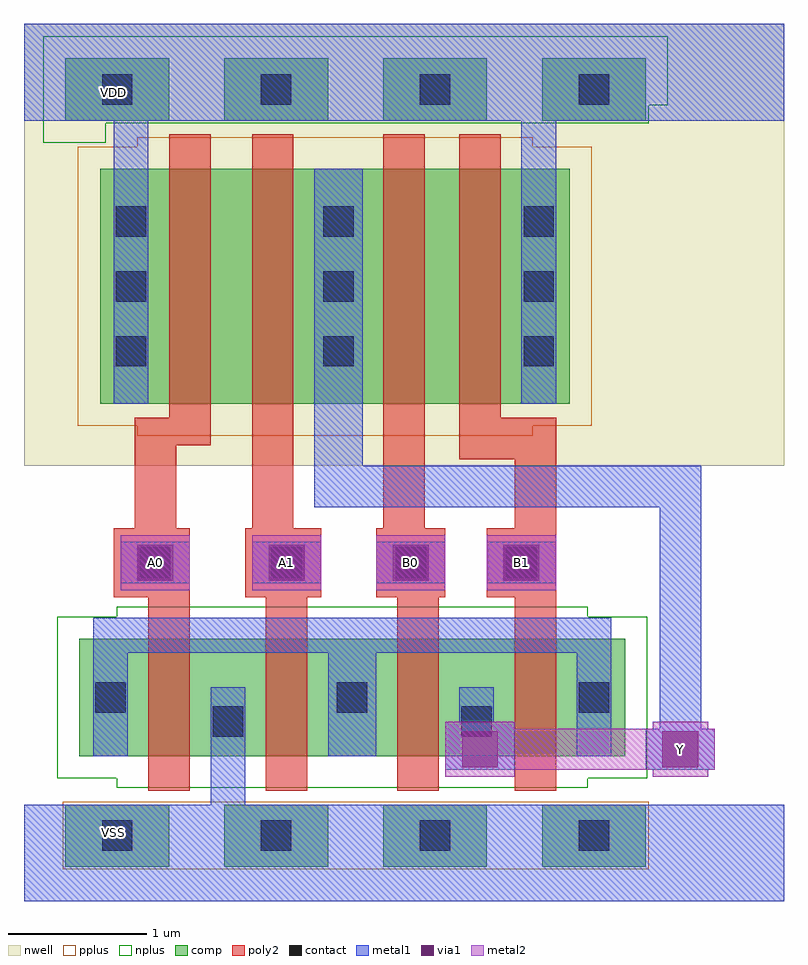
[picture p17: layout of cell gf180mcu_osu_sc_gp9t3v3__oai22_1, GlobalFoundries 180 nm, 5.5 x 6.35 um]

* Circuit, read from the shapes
.subckt gf180mcu_osu_sc_gp9t3v3__oai22_1 A0 A1 B0 B1 VDD VSS Y
XM1 VSS A0 n1 VSS nfet_03v3 w=0.85u l=0.3u
XM2 n1 A1 VSS VSS nfet_03v3 w=0.85u l=0.3u
XM3 Y B0 n1 VSS nfet_03v3 w=0.85u l=0.3u
XM4 n1 B1 Y VSS nfet_03v3 w=0.85u l=0.3u
XM5 n2 A0 VDD VDD pfet_03v3 w=1.7u l=0.3u
XM6 Y A1 n2 VDD pfet_03v3 w=1.7u l=0.3u
XM7 n3 B0 Y VDD pfet_03v3 w=1.7u l=0.3u
XM8 VDD B1 n3 VDD pfet_03v3 w=1.7u l=0.3u
.ends

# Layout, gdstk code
import gdstk
lib = gdstk.Library(unit=1e-6, precision=1e-09)
def R(c, l, rs):  # rectangles x0, y0, x1, y1
    for r in rs: c.add(gdstk.rectangle(r[:2], r[2:], *l))
def A(c, l, x, y, w, h, nx, ny, dx, dy):  # array of equal rectangles
    R(c, l, [(x+i*dx, y+j*dy, x+i*dx+w, y+j*dy+h) for i in range(nx) for j in range(ny)])
nwell = (21, 0)
comp = (22, 0)
poly2 = (30, 0)
pplus = (31, 0)
nplus = (32, 0)
contact = (33, 0)
metal1 = (34, 0)
via1 = (35, 0)
metal2 = (36, 0)

gf180mcu_osu_sc_gp9t3v3_ = lib.new_cell('gf180mcu_osu_sc_gp9t3v3__oai22_1')
R(gf180mcu_osu_sc_gp9t3v3_, nwell, [(0,3.15,5.5,6.35)])
A(gf180mcu_osu_sc_gp9t3v3_, comp, 0.3, 0.25, 0.75, 0.45, 4, 2, 1.15, 5.4)
R(gf180mcu_osu_sc_gp9t3v3_, comp, [(0.4,1.05,4.35,1.9), (0.55,3.6,3.95,5.3)])
R(gf180mcu_osu_sc_gp9t3v3_, poly2, [(0.9,0.8,1.2,2.2), (1.75,0.8,2.05,2.2), (2.7,0.8,3,2.2), (3.55,0.8,3.85,2.2), (0.65,2.2,1.2,2.7), (1.6,2.2,2.15,2.7), (2.55,2.2,3.05,2.7), (3.35,2.2,3.85,2.7), (0.8,2.7,1.1,3.3), (1.65,2.7,1.95,5.55), (2.6,2.7,2.9,5.55), (3.55,2.7,3.85,3.2), (3.15,3.2,3.85,3.5), (0.8,3.3,1.35,3.5), (1.05,3.5,1.35,5.55), (3.15,3.5,3.45,5.55)])
R(gf180mcu_osu_sc_gp9t3v3_, pplus, [(0.28,0.23,4.52,0.72), (0.82,3.37,3.68,3.44), (0.39,3.44,4.11,5.46), (0.82,5.46,3.68,5.53)])
R(gf180mcu_osu_sc_gp9t3v3_, nplus, [(0.67,0.82,4.08,0.89), (0.24,0.89,4.51,2.06), (0.67,2.06,4.08,2.13), (0.14,5.49,0.59,5.63), (0.14,5.63,4.52,5.76), (0.14,5.76,4.66,6.26)])
A(gf180mcu_osu_sc_gp9t3v3_, contact, 0.565, 0.365, 0.22, 0.22, 4, 2, 1.15, 5.4)
A(gf180mcu_osu_sc_gp9t3v3_, contact, 0.515, 1.365, 0.22, 0.22, 3, 1, 1.75, 0)
A(gf180mcu_osu_sc_gp9t3v3_, contact, 0.665, 3.87, 0.22, 0.22, 1, 3, 0, 0.47)
A(gf180mcu_osu_sc_gp9t3v3_, contact, 2.165, 3.87, 0.22, 0.22, 1, 3, 0, 0.47)
A(gf180mcu_osu_sc_gp9t3v3_, contact, 3.615, 3.87, 0.22, 0.22, 1, 3, 0, 0.47)
R(gf180mcu_osu_sc_gp9t3v3_, contact, [(1.365,1.19,1.585,1.41), (3.165,1.19,3.385,1.41), (0.84,2.34,1.06,2.56), (1.79,2.34,2.01,2.56), (2.69,2.34,2.91,2.56), (3.49,2.34,3.71,2.56)])
R(gf180mcu_osu_sc_gp9t3v3_, metal1, [(0,0,5.5,0.7), (1.35,0.7,1.6,1.55), (3.05,0.95,3.55,1.3), (4.5,0.95,5,1.25), (0.5,1.05,0.75,1.8), (2.2,1.05,2.55,1.8), (4,1.05,4.25,1.8), (4.6,1.25,4.9,2.85), (3.15,1.3,3.4,1.55), (0.5,1.8,4.25,2.05), (0.7,2.3,1.2,2.6), (1.65,2.3,2.15,2.6), (2.55,2.3,3.05,2.6), (3.35,2.3,3.85,2.6), (2.1,2.85,4.9,3.15), (2.1,3.15,2.45,5.3), (0.65,3.6,0.9,5.65), (3.6,3.6,3.85,5.65), (0,5.65,5.5,6.35)])
R(gf180mcu_osu_sc_gp9t3v3_, via1, [(3.17,0.97,3.43,1.23), (4.62,0.97,4.88,1.23), (0.82,2.32,1.08,2.58), (1.77,2.32,2.03,2.58), (2.67,2.32,2.93,2.58), (3.47,2.32,3.73,2.58)])
R(gf180mcu_osu_sc_gp9t3v3_, metal2, [(3.05,0.9,3.55,0.95), (4.55,0.9,4.95,0.95), (3.05,0.95,5,1.25), (3.05,1.25,3.55,1.3), (4.55,1.25,4.95,1.3), (0.7,2.25,1.2,2.65), (1.65,2.25,2.15,2.65), (2.55,2.25,3.05,2.65), (3.35,2.25,3.85,2.65)])
gf180mcu_osu_sc_gp9t3v3_.add(gdstk.Label('VDD', (0.65,5.85), layer=34, texttype=10))
gf180mcu_osu_sc_gp9t3v3_.add(gdstk.Label('VSS', (0.65,0.5), layer=34, texttype=10))
gf180mcu_osu_sc_gp9t3v3_.add(gdstk.Label('A0', (0.95,2.45), layer=36, texttype=10))
gf180mcu_osu_sc_gp9t3v3_.add(gdstk.Label('A1', (1.9,2.45), layer=36, texttype=10))
gf180mcu_osu_sc_gp9t3v3_.add(gdstk.Label('B0', (2.8,2.45), layer=36, texttype=10))
gf180mcu_osu_sc_gp9t3v3_.add(gdstk.Label('B1', (3.6,2.45), layer=36, texttype=10))
gf180mcu_osu_sc_gp9t3v3_.add(gdstk.Label('Y', (4.75,1.1), layer=36, texttype=10))

lib.write_gds('gf180mcu_osu_sc_gp9t3v3__oai22_1.gds')
